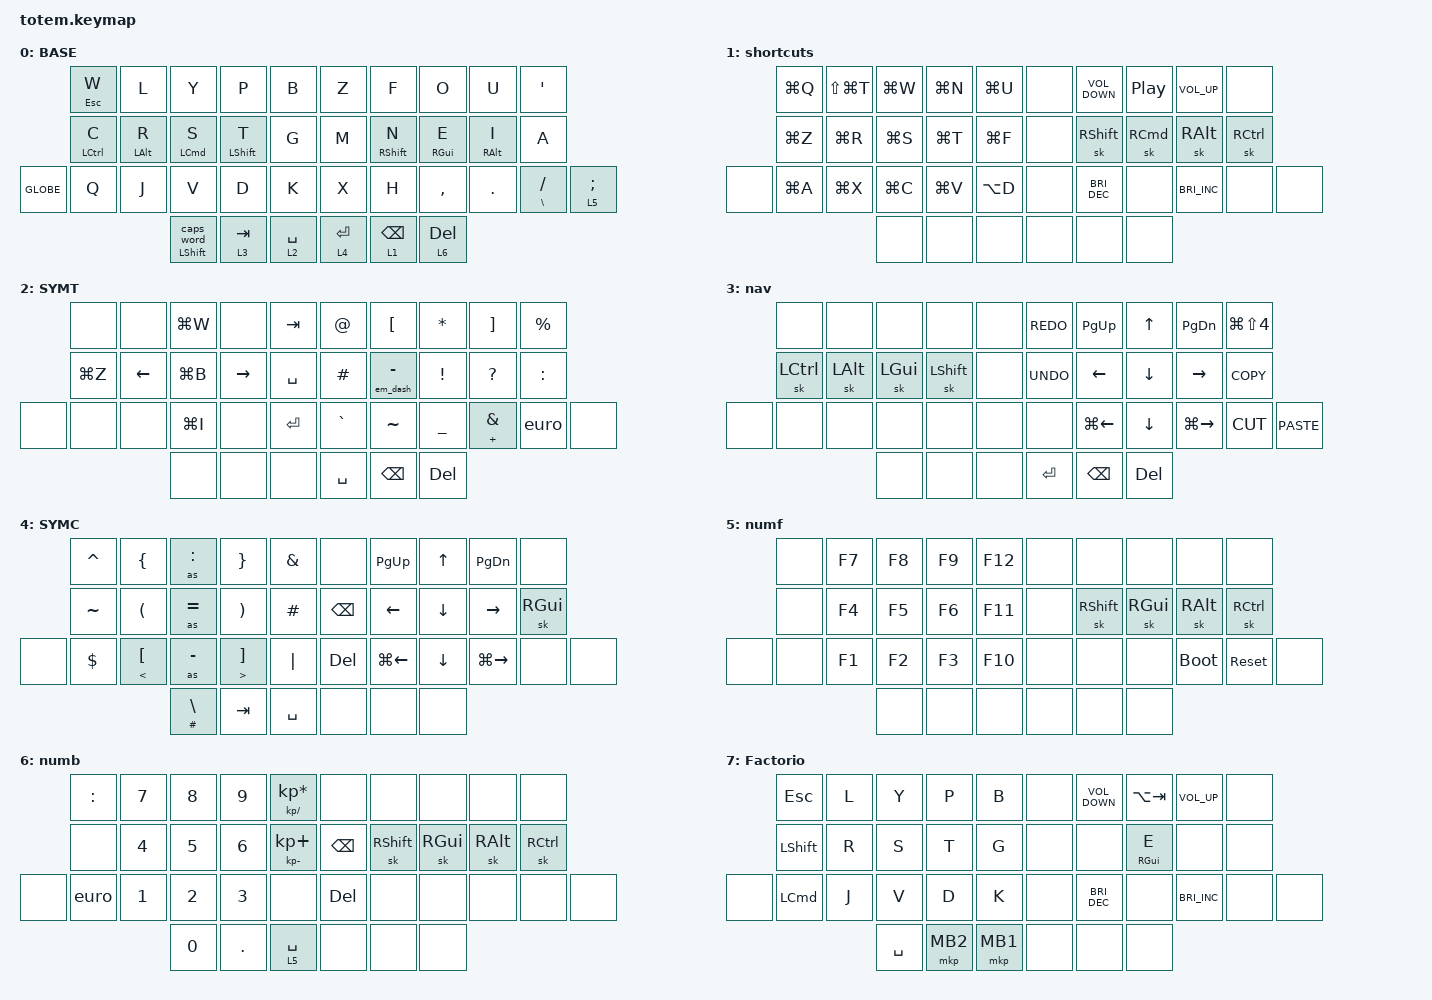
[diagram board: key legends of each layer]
//
//                                                        ▀▀▀▀▀     ▀▀▀▀▀          ▀▀█▀▀
//                                                        ▄▀▀▀▄  ▄  ▄▀▀▀▄  ▄  ▄▀▀▀▄  █  ▄▀▀▀▄
//                                                        █   █  █  █   █  █  █   █  █  █   █
//                                                         ▀▀▀   █   ▀▀▀   █   ▀▀▀   ▀   ▀▀▀
//                                                               █      ▄▄▄█▄▄▄    █   █  
//                                                               ▀      █  █  █     █▄█
//                                                             ▀▀▀▀▀    █  █  █      ▀
//                                                                      ▀  ▀  ▀
//
// ▄▄▄▄▄▄▄▄▄▄▄▄▄▄▄▄▄▄▄▄▄▄▄▄▄▄▄▄▄▄▄▄▄▄▄▄▄▄▄▄▄▄▄▄▄▄▄▄▄▄▄▄▄▄▄▄▄▄▄▄▄▄▄▄▄▄▄▄▄▄▄▄▄▄▄▄▄▄▄▄▄▄▄▄▄▄▄▄▄▄▄▄▄▄▄▄▄▄▄▄▄▄▄▄▄▄▄▄▄▄▄▄▄▄▄▄▄▄▄▄▄▄▄▄▄▄▄▄▄▄▄▄▄▄▄▄▄▄▄▄▄▄▄▄▄▄▄▄▄

#include <dt-bindings/zmk/mouse.h>
#include <behaviors.dtsi>
#include <dt-bindings/zmk/keys.h>
#include <dt-bindings/zmk/pointing.h>

&mt {
    quick-tap-ms = <100>;
    global-quick-tap;
    flavor = "tap-preferred";
    tapping-term-ms = <200>;
};

&lt { quick-tap-ms = <180>; };

/ {
    combos {
        compatible = "zmk,combos";

        combo_esc {
            timeout-ms = <50>;
            key-positions = <0 1>;
            bindings = <&kp ESC>;
        };

        copy {
            bindings = <&kp LG(C)>;
            key-positions = <2 1>;
        };

        paste {
            bindings = <&kp LG(V)>;
            key-positions = <2 3>;
        };

        Factorio {
            bindings = <&tog 7>;
            key-positions = <22 23 24>;
        };

        navigation {
            bindings = <&tog 3>;
            key-positions = <16 17 18>;
        };
    };

    macros {
        gif: gif {
            label = "giphy";
            compatible = "zmk,behavior-macro";
            #binding-cells = <0>;
            bindings =
                <&macro_press>,
                <&kp LSHFT>,
                <&macro_tap>,
                <&kp N2>,
                <&macro_release>,
                <&kp LSHFT>,
                <&macro_tap>,
                <&kp G &kp I &kp F>;
        };

        shifted: macro_shifted_kp {
            #binding-cells = <1>;
            label = "MACRO_SHIFTED_KP";
            compatible = "zmk,behavior-macro-one-param";
            bindings =
                <&macro_press>,
                <&kp LSHFT &macro_param_1to1>,
                <&macro_tap>,
                <&kp MACRO_PLACEHOLDER>,
                <&macro_release>,
                <&kp LSHFT>;
        };

        as: autoshift {
            compatible = "zmk,behavior-macro-one-param";
            #binding-cells = <1>;
            label = "AUTOSHIFT_KP";
            bindings =
                <&macro_press>,
                <&macro_param_1to1 &macro_param_1to2 &as_ht MACRO_PLACEHOLDER MACRO_PLACEHOLDER>,
                <&macro_pause_for_release>,
                <&macro_release>,
                <&macro_param_1to1 &macro_param_1to2 &as_ht MACRO_PLACEHOLDER MACRO_PLACEHOLDER>;
        };

        euro: euro {
            compatible = "zmk,behavior-macro";
            label = "EURO";
            #binding-cells = <0>;
            bindings =
                <&macro_press>,
                <&kp LALT>,
                <&macro_tap>,
                <&kp KP_NUMBER_0 &kp KP_NUMBER_1 &kp KP_NUMBER_2 &kp KP_NUMBER_8>,
                <&macro_release>,
                <&kp LALT>;
        };

        em_dash: em_dash {
            compatible = "zmk,behavior-macro";
            label = "EM_DASH";
            #binding-cells = <0>;
            bindings =
                <&macro_press>,
                <&kp LALT>,
                <&macro_tap>,
                <&kp KP_NUMBER_0 &kp KP_NUMBER_1 &kp KP_NUMBER_5 &kp KP_NUMBER_1>,
                <&macro_release>,
                <&kp LALT>;
        };
    };

    behaviors {
        mo_tog: behavior_mo_tog {
            compatible = "zmk,behavior-hold-tap";
            label = "MO_TOG";
            bindings = <&mo>, <&tog>;

            #binding-cells = <2>;
            tapping-term-ms = <200>;
            require-prior-idle-ms = <100>;
        };

        caps_hold: caps_hold {
            compatible = "zmk,behavior-hold-tap";
            label = "CAPS_HOLD";
            bindings = <&kp>, <&caps_word>;

            #binding-cells = <2>;
            tapping-term-ms = <200>;
        };

        as_ht: autoshift_hold_tap {
            compatible = "zmk,behavior-hold-tap";
            label = "AUTOSHIFT_HOLD_TAP";
            #binding-cells = <2>;
            tapping-term-ms = <170>;
            bindings = <&shifted>, <&kp>;

            flavor = "tap-preferred";
        };

        mod_as: mod_as {
            compatible = "zmk,behavior-hold-tap";
            label = "MOD_AS";
            bindings = <&kp>, <&as>;

            #binding-cells = <2>;
            tapping-term-ms = <500>;
            flavor = "tap-preferred";
            retro-tap;
        };

        repeat_mo: repeat_mo {
            compatible = "zmk,behavior-hold-tap";
            label = "REPEAT_MO";
            bindings = <&mo>, <&key_repeat>;

            #binding-cells = <2>;
            tapping-term-ms = <200>;
            flavor = "tap-preferred";
        };

        hmr_l: hmr_l {
            compatible = "zmk,behavior-hold-tap";
            label = "homerowmod left";
            bindings = <&kp>, <&kp>;

            #binding-cells = <2>;
            hold-trigger-on-release;
            hold-trigger-key-positions = <5 6 7 8 30 19 9 31 18 29 17 28 16 27 15 26 35 36 37>;
            flavor = "balanced";
            tapping-term-ms = <280>;
            quick-tap-ms = <175>;
            require-prior-idle-ms = <180>;
        };

        hmr_r: hmr_r {
            compatible = "zmk,behavior-hold-tap";
            label = "homerowmod r";
            bindings = <&kp>, <&kp>;

            #binding-cells = <2>;
            hold-trigger-on-release;
            hold-trigger-key-positions = <25 33 12 23 0 1 2 3 4 10 11 12 13 14 20 21 22 23 24 25 32 33 34>;
            flavor = "balanced";
            tapping-term-ms = <280>;
            quick-tap-ms = <175>;
            require-prior-idle-ms = <180>;
        };

        slash: slash {
            compatible = "zmk,behavior-hold-tap";
            label = "SLASH";
            #binding-cells = <2>;
            tapping-term-ms = <280>;
            bindings = <&kp>, <&kp>;

            flavor = "tap-preferred";
        };

        emdash: emdash {
            compatible = "zmk,behavior-hold-tap";
            label = "EMDASH";
            #binding-cells = <2>;
            tapping-term-ms = <160>;
            bindings = <&em_dash>, <&kp>;

            flavor = "tap-preferred";
        };

        hmr_l_hold_pref: hmr_l_hold_pref {
            compatible = "zmk,behavior-hold-tap";
            label = "HMR_L_HOLD_PREF";
            bindings = <&kp>, <&kp>;

            #binding-cells = <2>;
            hold-trigger-on-release;
            hold-trigger-key-positions = <5 6 7 8 30 19 9 31 18 29 17 28 16 27 15 26 35 36 37>;
            flavor = "hold-preferred";
            tapping-term-ms = <280>;
            quick-tap-ms = <175>;
            require-prior-idle-ms = <180>;
        };

        timeless_hr_l: timeless_hr_l {
            compatible = "zmk,behavior-hold-tap";
            label = "TIMELESS_HR_L";
            bindings = <&kp>, <&kp>;

            #binding-cells = <2>;
            hold-trigger-on-release;
            hold-trigger-key-positions = <5 6 7 8 30 19 9 31 18 29 17 28 16 27 15 26 35 36 37>;
            flavor = "tap-preferred";
            tapping-term-ms = <140>;
            quick-tap-ms = <175>;
            require-prior-idle-ms = <140>;
        };

        timeless_hr_r: timeless_hr_r {
            compatible = "zmk,behavior-hold-tap";
            label = "TIMELESS_HR_R";
            bindings = <&kp>, <&kp>;

            #binding-cells = <2>;
            hold-trigger-on-release;
            hold-trigger-key-positions = <14 3 12 2 11 0 10 11 13 14 20 21 22 23 24 25 32 33 34 1 4>;
            flavor = "tap-preferred";
            tapping-term-ms = <140>;
            quick-tap-ms = <175>;
            require-prior-idle-ms = <140>;
        };
    };

    keymap {
        compatible = "zmk,keymap";

        // ▄▄▄▄▄▄▄▄▄▄▄▄▄▄▄▄▄▄▄▄▄▄▄▄▄▄▄▄▄▄▄▄▄▄▄▄▄▄▄▄▄▄▄▄▄▄▄▄▄▄▄▄▄▄▄▄▄▄▄▄▄▄▄▄▄▄▄▄▄▄▄▄▄▄▄▄▄▄▄▄▄▄▄▄▄▄▄▄▄▄▄▄▄▄▄▄▄▄▄▄▄▄▄▄▄▄▄▄▄▄▄▄▄▄▄▄▄▄▄▄▄▄▄▄▄▄▄▄▄▄▄▄▄▄▄▄▄▄▄▄▄▄▄▄▄▄▄▄▄

        base_layer {
            label = "BASE";
            bindings = <
           &hmr_l ESCAPE W         &kp L                      &kp Y                          &kp P                        &kp B          &kp Z        &kp F                         &kp O                       &kp U                       &kp SINGLE_QUOTE
           &timeless_hr_l LCTRL C  &timeless_hr_l LEFT_ALT R  &timeless_hr_l LEFT_COMMAND S  &timeless_hr_l LEFT_SHIFT T  &kp G          &kp M        &timeless_hr_r RIGHT_SHIFT N  &timeless_hr_r RIGHT_GUI E  &timeless_hr_r RIGHT_ALT I  &kp A
&kp GLOBE  &kp Q                   &kp J                      &kp V                          &kp D                        &kp K          &kp X        &kp H                         &kp COMMA                   &kp PERIOD                  &hmr_r BACKSLASH SLASH  &lt 5 SEMI
                                                              &caps_hold LSHFT 0             &lt 3 TAB                    &lt 2 SPACE    &lt 4 ENTER  &lt 1 BACKSPACE               &lt 6 DELETE
            >;
        };

        shortcuts {
            bindings = <
       &kp LG(Q)  &kp LS(LG(T))  &kp LG(W)  &kp LG(N)  &kp LG(U)    &none  &kp C_VOLUME_DOWN     &kp C_PLAY_PAUSE   &kp C_VOLUME_UP  &none
       &kp LG(Z)  &kp LG(R)      &kp LG(S)  &kp LG(T)  &kp LG(F)    &none  &sk RSHFT             &sk RIGHT_COMMAND  &sk RALT         &sk RIGHT_CONTROL
&none  &kp LG(A)  &kp LG(X)      &kp LG(C)  &kp LG(V)  &kp LA(D)    &none  &kp C_BRIGHTNESS_DEC  &none              &kp C_BRI_INC    &none              &none
                                 &none      &none      &none        &none  &none                 &none
            >;

            label = "shortcuts";
        };

        sym_type {
            bindings = <
       &none      &none     &kp LG(W)  &none      &kp TAB      &kp AT_SIGN  &kp LEFT_BRACKET  &kp ASTERISK     &kp RIGHT_BRACKET      &kp PERCENT
       &kp LG(Z)  &kp LEFT  &kp LG(B)  &kp RIGHT  &kp SPACE    &kp HASH     &emdash 0 MINUS   &kp EXCLAMATION  &kp QUESTION           &kp COLON
&none  &none      &none     &kp LG(I)  &none      &kp ENTER    &kp GRAVE    &kp TILDE         &kp UNDERSCORE   &hmr_r PLUS AMPERSAND  &euro        &none
                            &none      &none      &none        &kp SPACE    &kp BACKSPACE     &kp DELETE
            >;

            label = "SYMT";
        };

        navigation {
            bindings = <
       &none             &none     &none     &none      &none    &kp K_REDO  &kp PG_UP     &kp UP      &kp PG_DN      &kp LG(LS(NUMBER_4))
       &sk LEFT_CONTROL  &sk LALT  &sk LGUI  &sk LSHFT  &none    &kp K_UNDO  &kp LEFT      &kp DOWN    &kp RIGHT      &kp K_COPY
&none  &none             &none     &none     &none      &none    &none       &kp LG(LEFT)  &kp DOWN    &kp LG(RIGHT)  &kp K_CUT             &kp K_PASTE
                                   &none     &none      &none    &kp RET     &kp BSPC      &kp DELETE
            >;

            label = "nav";
        };

        sym_code {
            bindings = <
       &kp CARET   &kp LEFT_BRACE              &as COLON           &kp RIGHT_BRACE                 &kp AMPERSAND    &none          &kp PAGE_UP     &kp UP_ARROW    &kp PAGE_DOWN  &none
       &kp TILDE   &kp LEFT_PARENTHESIS        &as EQUAL           &kp RIGHT_PARENTHESIS           &kp HASH         &kp BACKSPACE  &kp LEFT_ARROW  &kp DOWN_ARROW  &kp RIGHT      &sk RGUI
&none  &kp DOLLAR  &mt LESS_THAN LEFT_BRACKET  &as MINUS           &mt GREATER_THAN RIGHT_BRACKET  &kp PIPE         &kp DELETE     &kp LG(LEFT)    &kp DOWN_ARROW  &kp LG(RIGHT)  &none     &none
                                               &mt HASH BACKSLASH  &kp TAB                         &kp SPACE        &none          &none           &none
            >;

            label = "SYMC";
        };

        numfunctions {
            bindings = <
       &none  &kp F7  &kp F8  &kp F9  &kp F12    &none  &none      &none     &none        &none
       &none  &kp F4  &kp F5  &kp F6  &kp F11    &none  &sk RSHFT  &sk RGUI  &sk RALT     &sk RCTRL
&none  &none  &kp F1  &kp F2  &kp F3  &kp F10    &none  &none      &none     &bootloader  &sys_reset  &none
                      &none   &none   &none      &none  &none      &none
            >;

            label = "numf";
        };

        numblock {
            bindings = <
       &kp COLON  &kp N7  &kp N8  &kp N9   &mt KP_DIVIDE KP_MULTIPLY    &none          &none      &none          &none     &none
       &none      &kp N4  &kp N5  &kp N6   &mt KP_SUBTRACT KP_PLUS      &kp BACKSPACE  &sk RSHFT  &sk RIGHT_GUI  &sk RALT  &sk RIGHT_CONTROL
&none  &euro      &kp N1  &kp N2  &kp N3   &none                        &kp DELETE     &none      &none          &none     &none              &none
                          &kp N0  &kp DOT  &lt 5 SPACE                  &none          &none      &none
            >;

            label = "numb";
        };

        Factorio {
            label = "Factorio";
            bindings = <
       &kp ESCAPE        &kp L  &kp Y      &kp P     &kp B       &none  &kp C_VOLUME_DOWN     &kp LA(TAB)                 &kp C_VOLUME_UP       &none
       &kp LEFT_SHIFT    &kp R  &kp S      &kp T     &kp G       &none  &none                 &timeless_hr_r RIGHT_GUI E  &none                 &none
&none  &kp LEFT_COMMAND  &kp J  &kp V      &kp D     &kp K       &none  &kp C_BRIGHTNESS_DEC  &none                       &kp C_BRIGHTNESS_INC  &none  &none
                                &kp SPACE  &mkp MB2  &mkp MB1    &none  &none                 &none
            >;
        };
    };
};
